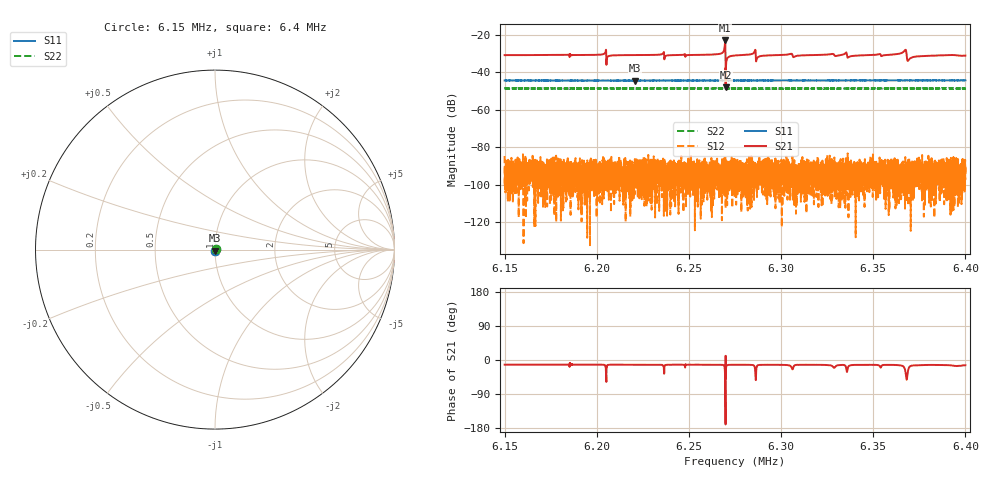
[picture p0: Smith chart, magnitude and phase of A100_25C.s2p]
!CETC41,AV3656A,ZGL00048,1.3.2
!Calibration ON (Full Solt 2-Port(Omit Isolation))
!Measurements: S11 S21 S12 S22
!2025-07-09 20:16
# Hz  S  dB  R 50.000
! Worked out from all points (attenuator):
!   6401 points, 6.15 MHz to 6.4 MHz, reference 50 ohm
!   highest |S21| = -23.00 dB at 6.2697 MHz (marker M1); lowest = -48.1 dB at 6.2699 MHz (marker M2)
!   lowest |S11| = -44.5 dB at 6.2205 MHz (marker M3), VSWR 1.01, Z = 49.9 - j0.593 ohm
!   |S11| at or under -10 dB: start of sweep to end of sweep
!   |S22| runs from -48.8 to -48.4 dB; largest |S21 - S12| = 0.071
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6150000  -44.33 -96.0  -30.82 -12.2  -84.57 97.8  -48.62 38.3
6191680  -44.33 -96.5  -30.75 -12.3  -114.88 136.2  -48.63 38.7
6220508  -44.47 -96.6  -30.80 -12.4  -89.21 172.5  -48.58 39.6
6233359  -44.35 -96.5  -30.62 -12.5  -95.76 12.8  -48.52 39.4
6264219  -44.31 -96.7  -30.40 -12.6  -99.66 82.8  -48.60 39.2
6267422  -44.35 -96.7  -29.93 -12.6  -105.42 49.7  -48.58 39.8
6268594  -44.38 -96.7  -29.15 -13.2  -93.49 -20.2  -48.67 39.4
6269688  -44.35 -96.6  -23.00 -62.0  -90.34 141.5  -48.67 40.0
6269922  -44.32 -97.0  -48.07 11.1  -112.45 -79.2  -48.57 39.7
6271133  -44.37 -96.6  -32.11 -13.1  -90.42 135.5  -48.64 39.4
6272070  -44.35 -96.6  -31.53 -12.8  -99.21 -124.3  -48.58 39.7
6275000  -44.36 -96.8  -31.02 -12.6  -97.83 -12.0  -48.61 39.6
6284961  -44.30 -96.1  -29.82 -13.7  -97.89 37.6  -48.62 39.5
6287539  -44.31 -96.0  -31.86 -13.6  -93.28 -176.0  -48.65 39.7
6304727  -44.34 -96.0  -30.29 -14.6  -98.43 79.7  -48.59 39.3
6307500  -44.28 -96.2  -31.53 -13.8  -101.31 -33.3  -48.65 39.7
6316680  -44.32 -95.9  -30.81 -12.7  -102.37 54.6  -48.67 39.3
6358359  -44.32 -96.2  -30.68 -12.8  -107.32 54.8  -48.60 40.2
6366797  -44.29 -96.2  -28.70 -19.6  -94.00 82.7  -48.64 40.0
6369531  -44.27 -96.6  -33.02 -18.8  -101.91 113.3  -48.54 39.7
6374531  -44.27 -96.3  -31.47 -14.0  -92.68 70.3  -48.60 40.4
6400000  -44.26 -96.1  -31.08 -13.9  -94.20 113.2  -48.52 40.3
